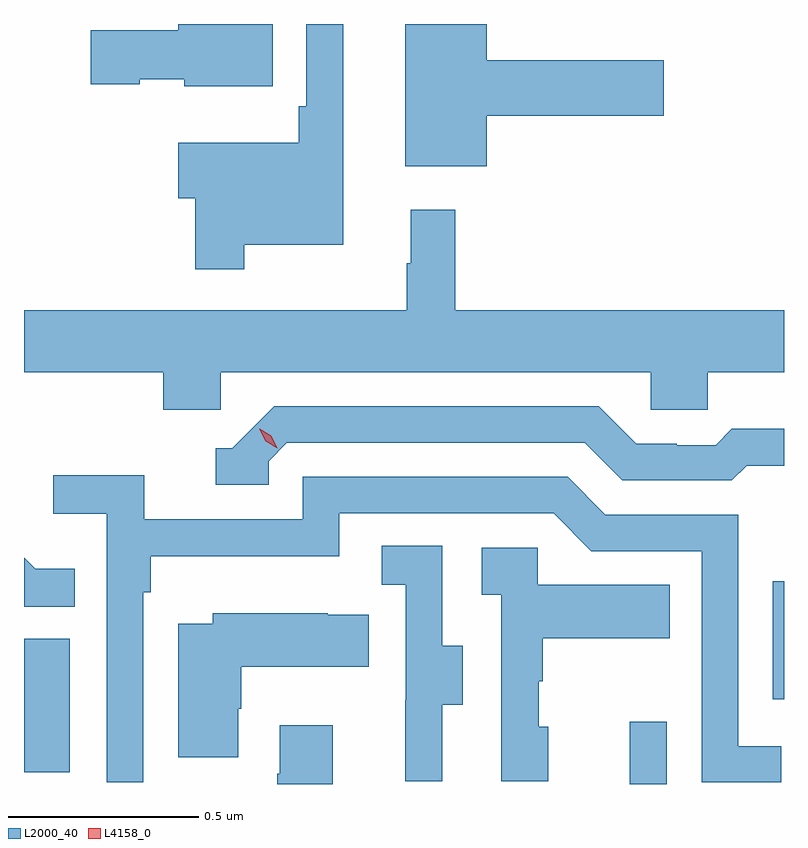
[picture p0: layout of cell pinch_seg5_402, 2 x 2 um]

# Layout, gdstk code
import gdstk
lib = gdstk.Library(unit=1e-6, precision=1e-09)
def R(c, l, rs):  # rectangles x0, y0, x1, y1
    for r in rs: c.add(gdstk.rectangle(r[:2], r[2:], *l))
def P(c, l, *ps):  # polygons
    for p in ps: c.add(gdstk.Polygon(p, *l))
L2000_40 = (2000, 40)
L4158_0 = (4158, 0)

pinch_seg5_402 = lib.new_cell('pinch_seg5_402')
R(pinch_seg5_402, L2000_40, [(953.744,872.993,953.841,873.157), (952.15,873.024,952.27,873.375), (954.12,873.216,954.15,873.526)])
P(pinch_seg5_402, L2000_40, [(952.729,874.412),(952.99,874.412),(952.99,874.993),(952.893,874.993),(952.893,874.777),(952.873,874.777),(952.873,874.681),(952.556,874.681),(952.556,874.534),(952.6,874.534),(952.6,874.347),(952.729,874.347)],
  [(952.804,874.993),(952.556,874.993),(952.556,874.977),(952.326,874.977),(952.326,874.835),(952.455,874.835),(952.455,874.847),(952.572,874.847),(952.572,874.829),(952.804,874.829)],
  [(953.368,874.751),(953.833,874.751),(953.833,874.898),(953.368,874.898),(953.368,874.993),(953.153,874.993),(953.153,874.619),(953.368,874.619)],
  [(952.15,874.076),(952.517,874.076),(952.517,873.978),(952.668,873.978),(952.668,874.076),(953.799,874.076),(953.799,873.978),(953.949,873.978),(953.949,874.076),(954.15,874.076),(954.15,874.24),(953.285,874.24),(953.285,874.504),(953.168,874.504),(953.168,874.364),(953.157,874.364),(953.157,874.24),(952.15,874.24)],
  [(952.794,873.843),(952.842,873.891),(953.625,873.891),(953.724,873.792),(954.013,873.792),(954.052,873.831),(954.15,873.831),(954.15,873.928),(954.013,873.928),(953.971,873.885),(953.868,873.885),(953.868,873.888),(953.761,873.888),(953.662,873.987),(952.809,873.987),(952.698,873.876),(952.655,873.876),(952.655,873.78),(952.794,873.78)],
  [(952.464,873.497),(952.484,873.497),(952.484,873.593),(952.98,873.593),(952.98,873.705),(953.544,873.705),(953.643,873.606),(953.934,873.606),(953.934,872.997),(954.143,872.997),(954.143,873.093),(954.03,873.093),(954.03,873.702),(953.68,873.702),(953.581,873.801),(952.884,873.801),(952.884,873.69),(952.466,873.69),(952.466,873.806),(952.227,873.806),(952.227,873.704),(952.368,873.704),(952.368,872.997),(952.464,872.997)],
  [(953.251,873.202),(953.305,873.202),(953.305,873.357),(953.25,873.357),(953.25,873.62),(953.091,873.62),(953.091,873.517),(953.154,873.517),(953.154,873.213),(953.153,873.213),(953.153,873),(953.251,873)],
  [(953.53,873.144),(953.505,873.144),(953.505,873.263),(953.515,873.263),(953.515,873.377),(953.849,873.377),(953.849,873.517),(953.502,873.517),(953.502,873.615),(953.355,873.615),(953.355,873.491),(953.406,873.491),(953.406,873),(953.53,873)],
  [(952.283,873.559),(952.179,873.559),(952.15,873.588),(952.15,873.46),(952.283,873.46)],
  [(952.714,873.191),(952.722,873.191),(952.722,873.302),(953.057,873.302),(953.057,873.439),(952.949,873.439),(952.949,873.442),(952.647,873.442),(952.647,873.415),(952.556,873.415),(952.556,873.063),(952.714,873.063)],
  [(952.963,873.148),(952.823,873.148),(952.823,873.02),(952.816,873.02),(952.816,872.993),(952.963,872.993)])
P(pinch_seg5_402, L4158_0, [(952.817,873.876),(952.786,873.895),(952.769,873.928),(952.769,873.928),(952.77,873.928),(952.801,873.909),(952.817,873.876),(952.817,873.876)])

lib.write_gds('pinch_seg5_402.gds')
